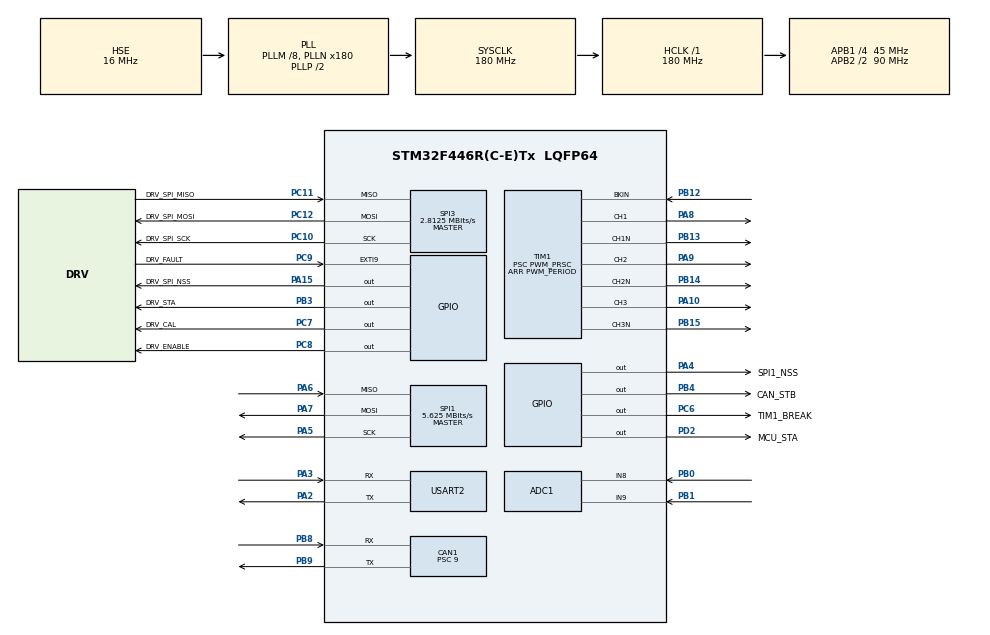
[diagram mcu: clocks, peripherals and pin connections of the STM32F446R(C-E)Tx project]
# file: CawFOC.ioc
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ADC1.Channel-1\#ChannelRegularConversion=ADC_CHANNEL_8
ADC1.ClockPrescaler=ADC_CLOCK_SYNC_PCLK_DIV6
ADC1.DiscontinuousConvMode=DISABLE
ADC1.NbrOfConversionFlag=1
ADC1.Rank-1\#ChannelRegularConversion=1
ADC1.SamplingTime-1\#ChannelRegularConversion=ADC_SAMPLETIME_3CYCLES
ADC1.ScanConvMode=DISABLE
ADC1.master=1
CAN1.ABOM=DISABLE
CAN1.BS1=CAN_BS1_5TQ
CAN1.BS2=CAN_BS2_4TQ
CAN1.CalculateBaudRate=500000
CAN1.CalculateTimeBit=2000
CAN1.CalculateTimeQuantum=200.0
CAN1.Mode=CAN_MODE_NORMAL
CAN1.NART=ENABLE
CAN1.Prescaler=9
FREERTOS.Tasks01=stateTask,0,128,StartStateTask,Default,NULL,Dynamic,NULL,NULL;driverTask,0,512,StartDriverTask,Default,NULL,Dynamic,NULL,NULL
FREERTOS.configENABLE_FPU=1
Mcu.Family=STM32F4
Mcu.Name=STM32F446R(C-E)Tx
Mcu.Package=LQFP64
Mcu.UserConstants=CKTIM,180000000;DEADTIME_NS,200;PWM_PRSC,0;PWM_FREQ,45000;PWM_PERIOD,CKTIM/(2*PWM_FREQ*(PWM_PRSC+1));DEADTIME,CKTIM/1000000/2*DEADTIME_NS/1000
NVIC.CAN1_RX0_IRQn=true\:5\:0\:false\:false\:true\:true\:true\:true\:true
NVIC.EXTI9_5_IRQn=true\:5\:0\:false\:false\:true\:true\:true\:true\:true
NVIC.PriorityGroup=NVIC_PRIORITYGROUP_4
NVIC.TIM6_DAC_IRQn=true\:15\:0\:false\:false\:true\:false\:false\:true\:true
NVIC.TimeBase=TIM6_DAC_IRQn
NVIC.TimeBaseIP=TIM6
PA10.Signal=S_TIM1_CH3
PA13.Mode=Serial_Wire
PA13.Signal=SYS_JTMS-SWDIO
PA14.Mode=Serial_Wire
PA14.Signal=SYS_JTCK-SWCLK
PA15.GPIO_Label=DRV_SPI_NSS
PA15.GPIO_Speed=GPIO_SPEED_FREQ_VERY_HIGH
PA15.PinState=GPIO_PIN_SET
PA15.Signal=GPIO_Output
PA2.Mode=Asynchronous
PA2.Signal=USART2_TX
PA3.Mode=Asynchronous
PA3.Signal=USART2_RX
PA4.GPIO_Label=SPI1_NSS
PA4.GPIO_Speed=GPIO_SPEED_FREQ_VERY_HIGH
PA4.PinState=GPIO_PIN_SET
PA4.Signal=GPIO_Output
PA5.Mode=Full_Duplex_Master
PA5.Signal=SPI1_SCK
PA6.Mode=Full_Duplex_Master
PA6.Signal=SPI1_MISO
PA7.Mode=Full_Duplex_Master
PA7.Signal=SPI1_MOSI
PA8.Signal=S_TIM1_CH1
PA9.Signal=S_TIM1_CH2
PB0.Signal=ADCx_IN8
PB1.Signal=ADCx_IN9
PB12.Mode=Activate-Break-Input
PB12.Signal=TIM1_BKIN
PB13.Mode=PWM Generation1 CH1 CH1N
PB13.Signal=TIM1_CH1N
PB14.Mode=PWM Generation2 CH2 CH2N
PB14.Signal=TIM1_CH2N
PB15.Mode=PWM Generation3 CH3 CH3N
PB15.Signal=TIM1_CH3N
PB3.GPIO_Label=DRV_STA
PB3.Signal=GPIO_Output
PB4.GPIO_Label=CAN_STB
PB4.Signal=GPIO_Output
PB8.Mode=CAN_Activate
PB8.Signal=CAN1_RX
PB9.Mode=CAN_Activate
PB9.Signal=CAN1_TX
PC10.GPIO_Label=DRV_SPI_SCK
PC10.Mode=Full_Duplex_Master
PC10.Signal=SPI3_SCK
PC11.GPIO_Label=DRV_SPI_MISO
PC11.Mode=Full_Duplex_Master
PC11.Signal=SPI3_MISO
PC12.GPIO_Label=DRV_SPI_MOSI
PC12.Mode=Full_Duplex_Master
PC12.Signal=SPI3_MOSI
PC6.GPIO_Label=TIM1_BREAK
PC6.GPIO_Speed=GPIO_SPEED_FREQ_VERY_HIGH
PC6.PinState=GPIO_PIN_RESET
PC6.Signal=GPIO_Output
PC7.GPIO_Label=DRV_CAL
PC7.Signal=GPIO_Output
PC8.GPIO_Label=DRV_ENABLE
PC8.Signal=GPIO_Output
PC9.GPIO_Label=DRV_FAULT
PC9.Signal=GPXTI9
PD2.GPIO_Label=MCU_STA
PD2.Signal=GPIO_Output
PH0-OSC_IN.Mode=HSE-External-Oscillator
PH0-OSC_IN.Signal=RCC_OSC_IN
PH1-OSC_OUT.Mode=HSE-External-Oscillator
PH1-OSC_OUT.Signal=RCC_OSC_OUT
ProjectManager.HeapSize=0x200
ProjectManager.StackSize=0x400
ProjectManager.TargetToolchain=Makefile
RCC.AHBFreq_Value=180000000
RCC.APB1CLKDivider=RCC_HCLK_DIV4
RCC.APB1Freq_Value=45000000
RCC.APB1TimFreq_Value=90000000
RCC.APB2CLKDivider=RCC_HCLK_DIV2
RCC.APB2Freq_Value=90000000
RCC.APB2TimFreq_Value=180000000
RCC.CortexFreq_Value=180000000
RCC.HCLKFreq_Value=180000000
RCC.HSE_VALUE=16000000
RCC.PLLM=8
RCC.PLLN=180
RCC.PLLSourceVirtual=RCC_PLLSOURCE_HSE
RCC.SYSCLKFreq_VALUE=180000000
RCC.SYSCLKSource=RCC_SYSCLKSOURCE_PLLCLK
RCC.USBFreq_Value=180000000
RCC.VCOOutputFreq_Value=360000000
SH.ADCx_IN8.0=ADC1_IN8,IN8
SH.ADCx_IN9.0=ADC1_IN9,IN9
SH.S_TIM1_CH1.0=TIM1_CH1,PWM Generation1 CH1 CH1N
SH.S_TIM1_CH2.0=TIM1_CH2,PWM Generation2 CH2 CH2N
SH.S_TIM1_CH3.0=TIM1_CH3,PWM Generation3 CH3 CH3N
SPI1.BaudRatePrescaler=SPI_BAUDRATEPRESCALER_16
SPI1.CLKPhase=SPI_PHASE_2EDGE
SPI1.CalculateBaudRate=5.625 MBits/s
SPI1.DataSize=SPI_DATASIZE_16BIT
SPI1.Direction=SPI_DIRECTION_2LINES
SPI1.Mode=SPI_MODE_MASTER
SPI1.VirtualType=VM_MASTER
SPI3.BaudRatePrescaler=SPI_BAUDRATEPRESCALER_16
SPI3.CLKPhase=SPI_PHASE_2EDGE
SPI3.CalculateBaudRate=2.8125 MBits/s
SPI3.DataSize=SPI_DATASIZE_16BIT
SPI3.Direction=SPI_DIRECTION_2LINES
SPI3.Mode=SPI_MODE_MASTER
SPI3.VirtualType=VM_MASTER
TIM1.AutoReloadPreload=TIM_AUTORELOAD_PRELOAD_DISABLE
TIM1.AutomaticOutput=TIM_AUTOMATICOUTPUT_DISABLE
TIM1.BreakPolarity=TIM_BREAKPOLARITY_HIGH
TIM1.BreakState=TIM_BREAK_ENABLE
TIM1.Channel-PWM\ Generation1\ CH1\ CH1N=TIM_CHANNEL_1
TIM1.Channel-PWM\ Generation2\ CH2\ CH2N=TIM_CHANNEL_2
TIM1.Channel-PWM\ Generation3\ CH3\ CH3N=TIM_CHANNEL_3
TIM1.ClockDivision=TIM_CLOCKDIVISION_DIV2
TIM1.CounterMode=TIM_COUNTERMODE_CENTERALIGNED1
TIM1.LockLevel=TIM_LOCKLEVEL_1
TIM1.OCNIdleState_1=TIM_OCNIDLESTATE_RESET
TIM1.OCNIdleState_2=TIM_OCNIDLESTATE_RESET
TIM1.OCNIdleState_3=TIM_OCNIDLESTATE_RESET
TIM1.Period=PWM_PERIOD
TIM1.Prescaler=PWM_PRSC
TIM1.RepetitionCounter=1
TIM1.TIM_MasterOutputTrigger=TIM_TRGO_OC4REF
USART2.VirtualMode=VM_ASYNC
VP_FREERTOS_VS_CMSIS_V1.Mode=CMSIS_V1
VP_SYS_VS_tim6.Mode=TIM6
VP_TIM1_VS_ClockSourceINT.Mode=Internal
board=custom

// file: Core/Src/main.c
/* USER CODE BEGIN Header */
/**
 ******************************************************************************
 * @file           : main.c
 * @brief          : Main program body
 ******************************************************************************
 * @attention
 *
 * Copyright (c) 2023 STMicroelectronics.
 * All rights reserved.
 *
 * This software is licensed under terms that can be found in the LICENSE file
 * in the root directory of this software component.
 * If no LICENSE file comes with this software, it is provided AS-IS.
 *
 ******************************************************************************
 */
/* USER CODE END Header */
#include "main.h"
#include "cmsis_os.h"
#include "adc.h"
#include "can.h"
#include "spi.h"
#include "tim.h"
#include "usart.h"
#include "gpio.h"

/* USER CODE BEGIN Includes */
#include "log.h"

/* USER CODE END Includes */

void SystemClock_Config(void);
void MX_FREERTOS_Init(void);

int main(void)
{

  /* MCU Configuration--------------------------------------------------------*/

  /* Reset of all peripherals, Initializes the Flash interface and the Systick. */
  HAL_Init();

  /* Configure the system clock */
  SystemClock_Config();

  /* Initialize all configured peripherals */
  MX_GPIO_Init();
  MX_SPI3_Init();
  MX_TIM1_Init();
  MX_ADC1_Init();
  MX_CAN1_Init();
  MX_SPI1_Init();
  MX_USART2_UART_Init();
  /* USER CODE BEGIN 2 */
  CAW_LOG_Welcome();
  /* USER CODE END 2 */

  /* Call init function for freertos objects (in freertos.c) */
  MX_FREERTOS_Init();

  /* Start scheduler */
  osKernelStart();

  /* We should never get here as control is now taken by the scheduler */
  /* Infinite loop */
  while (1) {

  }
}

void SystemClock_Config(void)
{
  RCC_OscInitTypeDef RCC_OscInitStruct = {0};
  RCC_ClkInitTypeDef RCC_ClkInitStruct = {0};

  /** Configure the main internal regulator output voltage
  */
  __HAL_RCC_PWR_CLK_ENABLE();
  __HAL_PWR_VOLTAGESCALING_CONFIG(PWR_REGULATOR_VOLTAGE_SCALE1);

  /** Initializes the RCC Oscillators according to the specified parameters
  * in the RCC_OscInitTypeDef structure.
  */
  RCC_OscInitStruct.OscillatorType = RCC_OSCILLATORTYPE_HSE;
  RCC_OscInitStruct.HSEState = RCC_HSE_ON;
  RCC_OscInitStruct.PLL.PLLState = RCC_PLL_ON;
  RCC_OscInitStruct.PLL.PLLSource = RCC_PLLSOURCE_HSE;
  RCC_OscInitStruct.PLL.PLLM = 8;
  RCC_OscInitStruct.PLL.PLLN = 180;
  RCC_OscInitStruct.PLL.PLLP = RCC_PLLP_DIV2;
  RCC_OscInitStruct.PLL.PLLQ = 2;
  RCC_OscInitStruct.PLL.PLLR = 2;
  if (HAL_RCC_OscConfig(&RCC_OscInitStruct) != HAL_OK)
  {
    Error_Handler();
  }

  /** Activate the Over-Drive mode
  */
  if (HAL_PWREx_EnableOverDrive() != HAL_OK)
  {
    Error_Handler();
  }

  /** Initializes the CPU, AHB and APB buses clocks
  */
  RCC_ClkInitStruct.ClockType = RCC_CLOCKTYPE_HCLK|RCC_CLOCKTYPE_SYSCLK
                              |RCC_CLOCKTYPE_PCLK1|RCC_CLOCKTYPE_PCLK2;
  RCC_ClkInitStruct.SYSCLKSource = RCC_SYSCLKSOURCE_PLLCLK;
  RCC_ClkInitStruct.AHBCLKDivider = RCC_SYSCLK_DIV1;
  RCC_ClkInitStruct.APB1CLKDivider = RCC_HCLK_DIV4;
  RCC_ClkInitStruct.APB2CLKDivider = RCC_HCLK_DIV2;

  if (HAL_RCC_ClockConfig(&RCC_ClkInitStruct, FLASH_LATENCY_5) != HAL_OK)
  {
    Error_Handler();
  }
}

void HAL_TIM_PeriodElapsedCallback(TIM_HandleTypeDef *htim)
{
  if (htim->Instance == TIM6) {
    HAL_IncTick();
  }
}

void Error_Handler(void)
{
  __disable_irq();
  while (1) {
  }
}

#ifdef  USE_FULL_ASSERT
/**
  * @brief  Reports the name of the source file and the source line number
  *         where the assert_param error has occurred.
  * @param  file: pointer to the source file name
  * @param  line: assert_param error line source number
  * @retval None
  */
void assert_failed(uint8_t *file, uint32_t line)
{
  /* USER CODE BEGIN 6 */
  /* User can add his own implementation to report the file name and line
     number, ex: printf("Wrong parameters value: file %s on line %d\r\n", file,
     line) */
  /* USER CODE END 6 */
}
#endif /* USE_FULL_ASSERT */

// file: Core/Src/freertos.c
/* USER CODE BEGIN Header */
/**
 ******************************************************************************
 * File Name          : freertos.c
 * Description        : Code for freertos applications
 ******************************************************************************
 * @attention
 *
 * Copyright (c) 2023 STMicroelectronics.
 * All rights reserved.
 *
 * This software is licensed under terms that can be found in the LICENSE file
 * in the root directory of this software component.
 * If no LICENSE file comes with this software, it is provided AS-IS.
 *
 ******************************************************************************
 */
/* USER CODE END Header */

#include "FreeRTOS.h"

#include "cmsis_os.h"
#include "main.h"
#include "task.h"

/* USER CODE BEGIN Includes */
#include "as5047p.h"
#include "can.h"
#include "can_util.h"
#include "caw_status.h"
#include "drv8323.h"
#include "log.h"
#include "motor.h"
#include "pid.h"
/* USER CODE END Includes */

/* USER CODE BEGIN Variables */
extern AS5047P_T g_sensor;
DRV8323_T driver;
volatile uint8_t drv_health_state;
volatile uint8_t drv_init_state;
volatile uint8_t foc_run_state;
float foc_target;
MOTOR_T motor;
/* USER CODE END Variables */
osThreadId stateTaskHandle;
osThreadId driverTaskHandle;

void StartStateTask(void const *argument);
void StartDriverTask(void const *argument);

void MX_FREERTOS_Init(void); /* (MISRA C 2004 rule 8.1) */

/* GetIdleTaskMemory prototype (linked to static allocation support) */
void vApplicationGetIdleTaskMemory(StaticTask_t **ppxIdleTaskTCBBuffer,
                                   StackType_t **ppxIdleTaskStackBuffer,
                                   uint32_t *pulIdleTaskStackSize);

/* USER CODE BEGIN GET_IDLE_TASK_MEMORY */
static StaticTask_t xIdleTaskTCBBuffer;
static StackType_t xIdleStack[configMINIMAL_STACK_SIZE];

void vApplicationGetIdleTaskMemory(StaticTask_t **ppxIdleTaskTCBBuffer,
                                   StackType_t **ppxIdleTaskStackBuffer,
                                   uint32_t *pulIdleTaskStackSize) {
  *ppxIdleTaskTCBBuffer = &xIdleTaskTCBBuffer;
  *ppxIdleTaskStackBuffer = &xIdleStack[0];
  *pulIdleTaskStackSize = configMINIMAL_STACK_SIZE;
  /* place for user code */
}
/* USER CODE END GET_IDLE_TASK_MEMORY */

void MX_FREERTOS_Init(void) {
  /* USER CODE BEGIN Init */
  drv_health_state = 0;
  drv_init_state = 0;
  foc_run_state = 0;
  foc_target = 0.0f;
  CAN_Init();
  /* USER CODE END Init */

  /* Create the thread(s) */
  /* definition and creation of stateTask */
  osThreadDef(stateTask, StartStateTask, osPriorityNormal, 0, 128);
  stateTaskHandle = osThreadCreate(osThread(stateTask), NULL);

  /* definition and creation of driverTask */
  osThreadDef(driverTask, StartDriverTask, osPriorityNormal, 0, 512);
  driverTaskHandle = osThreadCreate(osThread(driverTask), NULL);

}

void StartStateTask(void const *argument) {
  /* USER CODE BEGIN StartStateTask */
  /* Infinite loop */
  for (;;) {
    if (drv_init_state) {
      uint16_t r0, r1;
      if ((!DRV8323_GetFaultStatus(&driver, &r0) && !r0) &&
          (!DRV8323_GetVGSStatus(&driver, &r1) && !r1)) {
        drv_health_state = 1;
      } else {
        // CAW_LOG_ERROR("DRV FAULT FAULT-REG: %X VGS-REG: %X", r0, r1);
        drv_health_state = 0;
      }
    }
    GPIO_PinState sta = HAL_GPIO_ReadPin(MCU_STA_GPIO_Port, MCU_STA_Pin);
    HAL_GPIO_WritePin(MCU_STA_GPIO_Port, MCU_STA_Pin, !sta);
    if (drv_health_state)
      HAL_GPIO_WritePin(DRV_STA_GPIO_Port, DRV_STA_Pin, !sta);
    else
      HAL_GPIO_WritePin(DRV_STA_GPIO_Port, DRV_STA_Pin, GPIO_PIN_RESET);
    osDelay(250);
  }
  /* USER CODE END StartStateTask */
}

void StartDriverTask(void const *argument) {
  /* USER CODE BEGIN StartDriverTask */
  HAL_Delay(1000);
  // 初始化DRV8323
  if (!DRV8323_Init(&driver, &hspi3)) {
    drv_init_state = 1;
    DRV8323_ShowRegs(&driver);
    CAW_LOG_INFO("DRV8323 init ok...");
  } else {
    // 初始化失败退出任务
    CAW_LOG_FAIL("DRV8323 init failed...");
  }

  DRIVER_6PWM_T driver_6;
  DRIVER_6PWM_Init(&driver_6, &htim1, PWM_PERIOD);
  MOTOR_Init(&motor, 7);
  MOTOR_LinkDriver(&motor, &driver_6);

  driver_6.voltage_power_supply = 12.0f;
  driver_6.voltage_limit = 10.0f;
  motor.voltage_limit = 10.0f;
  motor.voltage_sensor_align = 3.0f;

  motor.PID_velocity.P = 0.2f;
  motor.PID_velocity.I = 20.0f;
  motor.PID_velocity.D = 0.0f;
  motor.LPF_velocity.Tf = 0.01;
  motor.PID_angle.P = 10.0f;

  motor.controller = TORQUE;
  motor.shaft_velocity_sp = 0.0f;

  MOTOR_AlignSensor(&motor);

  /* Infinite loop */
  for (;;) {
    if (foc_run_state) {
      MOTOR_Step(&motor);
      MOTOR_Move(&motor, foc_target);
    }
    osDelay(1);
  }
  /* USER CODE END StartDriverTask */
}
